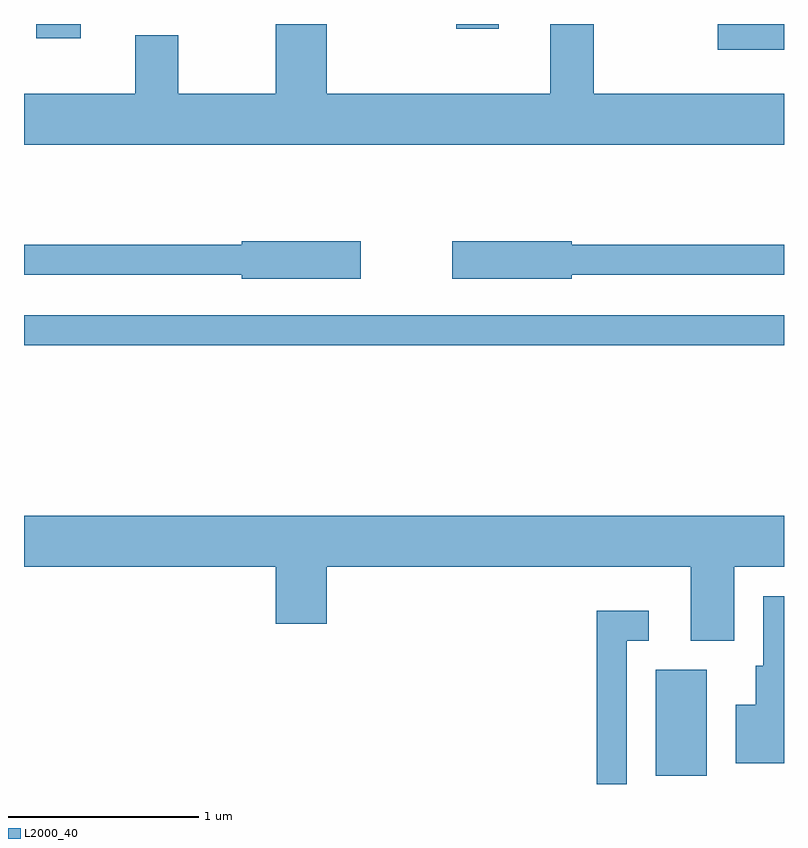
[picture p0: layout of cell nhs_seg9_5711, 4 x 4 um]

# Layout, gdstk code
import gdstk
lib = gdstk.Library(unit=1e-6, precision=1e-09)
def R(c, l, rs):  # rectangles x0, y0, x1, y1
    for r in rs: c.add(gdstk.rectangle(r[:2], r[2:], *l))
def P(c, l, *ps):  # polygons
    for p in ps: c.add(gdstk.Polygon(p, *l))
L2000_40 = (2000, 40)

nhs_seg9_5711 = lib.new_cell('nhs_seg9_5711')
R(nhs_seg9_5711, L2000_40, [(356.936,2008.476,357.204,2009.034), (353.611,2010.741,357.611,2010.899), (357.263,2012.296,357.611,2012.432), (353.676,2012.356,353.909,2012.432), (355.886,2012.406,356.109,2012.432)])
P(nhs_seg9_5711, L2000_40, [(357.611,2012.064),(356.609,2012.064),(356.609,2012.432),(356.381,2012.432),(356.381,2012.064),(355.204,2012.064),(355.204,2012.432),(354.936,2012.432),(354.936,2012.064),(354.424,2012.064),(354.424,2012.374),(354.196,2012.374),(354.196,2012.064),(353.611,2012.064),(353.611,2011.796),(357.611,2011.796)],
  [(355.384,2011.289),(354.756,2011.289),(354.756,2011.269),(353.611,2011.269),(353.611,2011.111),(354.756,2011.111),(354.756,2011.091),(355.384,2011.091)],
  [(356.494,2011.111),(357.611,2011.111),(357.611,2011.269),(356.494,2011.269),(356.494,2011.289),(355.866,2011.289),(355.866,2011.091),(356.494,2011.091)],
  [(357.349,2009.576),(357.611,2009.576),(357.611,2009.844),(353.611,2009.844),(353.611,2009.576),(354.936,2009.576),(354.936,2009.276),(355.204,2009.276),(355.204,2009.576),(357.121,2009.576),(357.121,2009.186),(357.349,2009.186)],
  [(357.611,2009.419),(357.501,2009.419),(357.501,2009.054),(357.461,2009.054),(357.461,2008.849),(357.356,2008.849),(357.356,2008.541),(357.611,2008.541)],
  [(356.784,2009.186),(356.898,2009.186),(356.898,2009.344),(356.626,2009.344),(356.626,2008.432),(356.784,2008.432)])

lib.write_gds('nhs_seg9_5711.gds')
